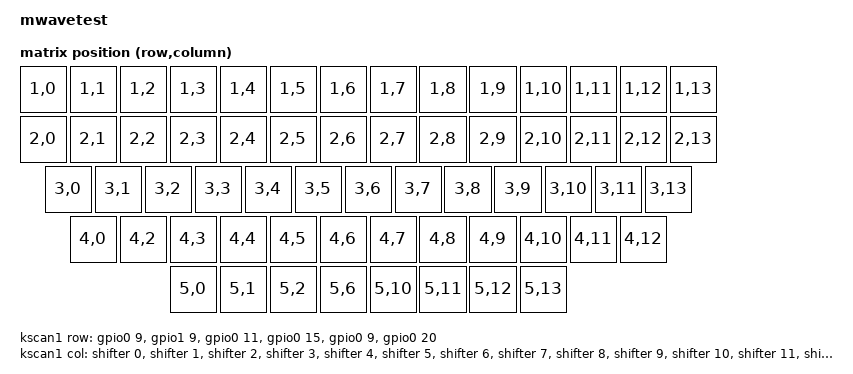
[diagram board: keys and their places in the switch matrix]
/*
 * Copyright (c) 2024 The ZMK Contributors
 *
 * SPDX-License-Identifier: MIT
 */

/dts-v1/;

#include "lcp_33.dtsi"

/ {
    model = "mwavetest";
    compatible = "polarityworks,mwavetest";

    chosen {
        zmk,kscan = &kscan1;
        zmk,matrix-transform = &ansi_transform;
        zmk,underglow = &led_strip_1;
    };

    ansi_transform: keymap_transform_0 {
    compatible = "zmk,matrix-transform";
    columns = <15>;
    rows = <6>;
    map = <
      RC(1,0) RC(1,1) RC(1,2) RC(1,3) RC(1,4) RC(1,5) RC(1,6) RC(1,7) RC(1,8) RC(1,9) RC(1,10) RC(1,11) RC(1,12)  RC(1,13)
      RC(2,0)   RC(2,1) RC(2,2) RC(2,3) RC(2,4) RC(2,5) RC(2,6) RC(2,7) RC(2,8) RC(2,9) RC(2,10) RC(2,11) RC(2,12)   RC(2,13)
      RC(3,0)     RC(3,1) RC(3,2) RC(3,3) RC(3,4) RC(3,5) RC(3,6) RC(3,7) RC(3,8) RC(3,9) RC(3,10) RC(3,11)      RC(3,13)
      RC(4,0)       RC(4,2) RC(4,3) RC(4,4) RC(4,5) RC(4,6) RC(4,7) RC(4,8) RC(4,9) RC(4,10)  RC(4,11)       RC(4,12)
      RC(5,0)   RC(5,1)   RC(5,2)                      RC(5,6)                     RC(5,10)   RC(5,11)    RC(5,12)   RC(5,13)

    >;
  };

  kscan1: kscan_1 {
        compatible = "zmk,kscan-gpio-matrix";
        wakeup-source;

        diode-direction = "col2row";

        col-gpios
            = <&shifter 0 GPIO_ACTIVE_HIGH>
            , <&shifter 1 GPIO_ACTIVE_HIGH>
            , <&shifter 2 GPIO_ACTIVE_HIGH>
            , <&shifter 3 GPIO_ACTIVE_HIGH>
            , <&shifter 4 GPIO_ACTIVE_HIGH>
            , <&shifter 5 GPIO_ACTIVE_HIGH>
            , <&shifter 6 GPIO_ACTIVE_HIGH>
            , <&shifter 7 GPIO_ACTIVE_HIGH>
            , <&shifter 8 GPIO_ACTIVE_HIGH>
            , <&shifter 9 GPIO_ACTIVE_HIGH>
            , <&shifter 10 GPIO_ACTIVE_HIGH>
            , <&shifter 11 GPIO_ACTIVE_HIGH>
            , <&shifter 12 GPIO_ACTIVE_HIGH>
            , <&shifter 13 GPIO_ACTIVE_HIGH>
            ;

        row-gpios
            = <&gpio0 9 (GPIO_ACTIVE_HIGH | GPIO_PULL_DOWN)>
            , <&gpio1 9 (GPIO_ACTIVE_HIGH | GPIO_PULL_DOWN)>
            , <&gpio0 11 (GPIO_ACTIVE_HIGH | GPIO_PULL_DOWN)>
            , <&gpio0 15 (GPIO_ACTIVE_HIGH | GPIO_PULL_DOWN)>
            , <&gpio0 9 (GPIO_ACTIVE_HIGH | GPIO_PULL_DOWN)>
            , <&gpio0 20 (GPIO_ACTIVE_HIGH | GPIO_PULL_DOWN)>
            ;
    };

    led_0: led_0 {
        compatible = "gpio-leds";
        red_led: led_0r {
            gpios = <&shifter 16 GPIO_ACTIVE_LOW>;
        };
        green_led: led_0g {
            gpios = <&shifter 17 GPIO_ACTIVE_LOW>;
        };
        blue_led: led_0b {
            gpios = <&shifter 18 GPIO_ACTIVE_LOW>;
        };
    };

    led_1: led_1 {
        compatible = "gpio-leds";
        red_led1: led_1r {
            gpios = <&shifter 19 GPIO_ACTIVE_LOW>;
        };
        green_led1: led_1g {
            gpios = <&shifter 20 GPIO_ACTIVE_LOW>;
        };
        blue_led1: led_1b {
            gpios = <&shifter 21 GPIO_ACTIVE_LOW>;
        };
    };

    led_strip_1: gpio_led_strip {
        compatible = "zmk,gpio-led-strip";
        chain-length = <2>;
        led-0 {
            led = <&led_0>;
        };
        led-1 {
            led = <&led_1>;
        };
    };
};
